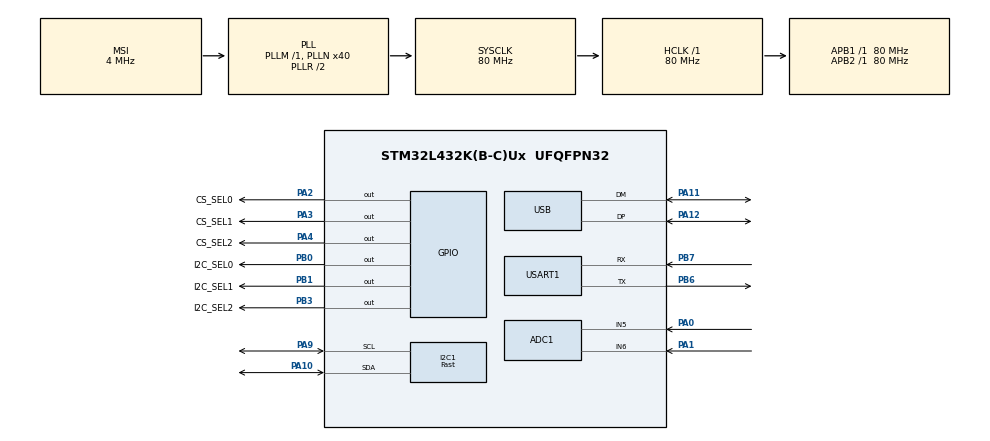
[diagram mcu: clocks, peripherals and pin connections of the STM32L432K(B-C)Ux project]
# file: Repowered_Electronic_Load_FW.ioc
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Mcu.Family=STM32L4
USB_DEVICE.CLASS_NAME_FS=CDC
RCC.CortexFreq_Value=80000000
NVIC.I2C1_EV_IRQn=true\:0\:0\:false\:false\:true\:true\:true
I2C1.I2C_Speed_Mode=I2C_Fast
NVIC.USB_IRQn=true\:0\:0\:false\:false\:true\:false\:true
ADC1.ContinuousConvMode=DISABLE
PA2.GPIO_Speed=GPIO_SPEED_FREQ_HIGH
PA11.Mode=Device
PB0.GPIO_Label=I2C_SEL0
PA3.GPIO_Speed=GPIO_SPEED_FREQ_HIGH
RCC.SYSCLKSource=RCC_SYSCLKSOURCE_PLLCLK
ProjectManager.StackSize=0x400
PB3\ (JTDO-TRACESWO).Signal=GPIO_Output
VP_TIM1_VS_no_output1.Mode=Output Compare1 No Output
PA14\ (JTCK-SWCLK).Signal=SYS_JTCK-SWCLK
PA12.Signal=USB_DP
NVIC.ADC1_IRQn=true\:0\:0\:false\:false\:true\:true\:true
RCC.HCLKFreq_Value=80000000
RCC.APB2TimFreq_Value=80000000
PB6.Signal=USART1_TX
Dma.ADC1.0.Direction=DMA_PERIPH_TO_MEMORY
USB_DEVICE.USBD_LPM_ENABLED=0
PB6.Mode=Asynchronous
TIM1.OC1Preload=ENABLE
Dma.ADC1.0.MemDataAlignment=DMA_MDATAALIGN_HALFWORD
RCC.AHBFreq_Value=80000000
ADC1.Channel-0\#ChannelRegularConversion=ADC_CHANNEL_5
RCC.HSE_VALUE=8000000
PA4.GPIO_Speed=GPIO_SPEED_FREQ_HIGH
PB1.GPIO_Speed=GPIO_SPEED_FREQ_VERY_HIGH
Dma.ADC1.0.PeriphInc=DMA_PINC_DISABLE
PB1.GPIO_Label=I2C_SEL1
PB7.Signal=USART1_RX
NVIC.I2C1_ER_IRQn=true\:0\:0\:false\:false\:true\:true\:true
VP_TIM1_VS_ClockSourceINT.Mode=Internal
ADC1.SamplingTime-0\#ChannelRegularConversion=ADC_SAMPLETIME_2CYCLES_5
PA0.Signal=ADCx_IN5
Mcu.Package=UFQFPN32
PB1.Signal=GPIO_Output
TIM1.Pulse-Output\ Compare1\ No\ Output=4000
PA2.GPIO_Label=CS_SEL0
PA10.Signal=I2C1_SDA
ADC1.OffsetNumber-1\#ChannelRegularConversion=ADC_OFFSET_NONE
RCC.APB1TimFreq_Value=80000000
TIM1.Period=8000
PA13\ (JTMS-SWDIO).Signal=SYS_JTMS-SWDIO
NVIC.USART1_IRQn=true\:0\:0\:false\:false\:true\:true\:true
Dma.Request0=ADC1
PA4.GPIO_Label=CS_SEL2
ADC1.EOCSelection=ADC_EOC_SEQ_CONV
RCC.HSI48_VALUE=48000000
RCC.PLLSAI1N=24
PA3.Signal=GPIO_Output
RCC.MSI_VALUE=4000000
PA14\ (JTCK-SWCLK).Mode=Serial_Wire
Dma.ADC1.0.Instance=DMA1_Channel1
ADC1.Rank-0\#ChannelRegularConversion=1
PA10.Mode=I2C
USB_DEVICE.VirtualModeFS=Cdc_FS
SH.ADCx_IN6.0=ADC1_IN6,IN6-Single-Ended
ADC1.OffsetNumber-0\#ChannelRegularConversion=ADC_OFFSET_NONE
TIM1.Channel-Output\ Compare1\ No\ Output=TIM_CHANNEL_1
ADC1.DiscontinuousConvMode=DISABLE
PB3\ (JTDO-TRACESWO).GPIO_Label=I2C_SEL2
ADC1.ExternalTrigConvEdge=ADC_EXTERNALTRIGCONVEDGE_NONE
PB0.GPIO_Speed=GPIO_SPEED_FREQ_VERY_HIGH
USART1.VirtualMode-Asynchronous=VM_ASYNC
TIM1.AutoReloadPreload=TIM_AUTORELOAD_PRELOAD_ENABLE
Dma.ADC1.0.PeriphDataAlignment=DMA_PDATAALIGN_HALFWORD
PA9.Mode=I2C
ProjectManager.TargetToolchain=Makefile
Dma.ADC1.0.Mode=DMA_NORMAL
VP_USB_DEVICE_VS_USB_DEVICE_CDC_FS.Mode=CDC_FS
Dma.ADC1.0.Priority=DMA_PRIORITY_LOW
PA9.Signal=I2C1_SCL
ADC1.Channel-1\#ChannelRegularConversion=ADC_CHANNEL_6
I2C1.Timing=0x00702991
RCC.USBFreq_Value=48000000
RCC.LSE_VALUE=32768
PA1.Signal=ADCx_IN6
NVIC.TIM1_TRG_COM_IRQn=true\:0\:0\:false\:false\:true\:true\:true
board=custom
RCC.VCOOutputFreq_Value=160000000
TIM1.TIM_MasterOutputTrigger=TIM_TRGO_OC1REF
RCC.APB2Freq_Value=80000000
RCC.ADCFreq_Value=48000000
ADC1.NbrOfConversion=2
Mcu.Name=STM32L432K(B-C)Ux
PA2.Signal=GPIO_Output
ADC1.ExternalTrigConv=ADC_SOFTWARE_START
NVIC.TIM1_CC_IRQn=true\:0\:0\:false\:false\:true\:true\:true
PA13\ (JTMS-SWDIO).Mode=Serial_Wire
PA4.Signal=GPIO_Output
ADC1.SamplingTime-1\#ChannelRegularConversion=ADC_SAMPLETIME_2CYCLES_5
RCC.SYSCLKFreq_VALUE=80000000
ADC1.master=1
PA12.Mode=Device
ADC1.Rank-1\#ChannelRegularConversion=2
PB7.Mode=Asynchronous
PA11.Signal=USB_DM
Dma.ADC1.0.MemInc=DMA_MINC_ENABLE
ProjectManager.HeapSize=0x200
RCC.HSI_VALUE=16000000
SH.ADCx_IN5.0=ADC1_IN5,IN5-Single-Ended
NVIC.PriorityGroup=NVIC_PRIORITYGROUP_4
ADC1.NbrOfConversionFlag=1
RCC.PLLN=40
PB3\ (JTDO-TRACESWO).GPIO_Speed=GPIO_SPEED_FREQ_VERY_HIGH
NVIC.DMA1_Channel1_IRQn=true\:0\:0\:false\:false\:true\:false\:true
RCC.APB1Freq_Value=80000000
PB0.Signal=GPIO_Output
USB_DEVICE.VirtualMode=Cdc
TIM1.TIM_MasterSlaveMode=TIM_MASTERSLAVEMODE_DISABLE
PA3.GPIO_Label=CS_SEL1

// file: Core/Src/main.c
/* USER CODE BEGIN Header */
/**
  ******************************************************************************
  * @file           : main.c
  * @brief          : Main program body
  ******************************************************************************
  * @attention
  *
  * <h2><center>&copy; Copyright (c) 2021 STMicroelectronics.
  * All rights reserved.</center></h2>
  *
  * This software component is licensed by ST under Ultimate Liberty license
  * SLA0044, the "License"; You may not use this file except in compliance with
  * the License. You may obtain a copy of the License at:
  *                             www.st.com/SLA0044
  *
  ******************************************************************************
  */
/* USER CODE END Header */
#include "main.h"
#include "adc.h"
#include "dma.h"
#include "i2c.h"
#include "tim.h"
#include "usart.h"
#include "usb_device.h"
#include "gpio.h"

/* USER CODE BEGIN Includes */
#include <stdbool.h>
#include "usbd_cdc_if.h"
#include "scpiparser.h"
#include "printf.h"
#include "dac101.h"
/* USER CODE END Includes */

/* USER CODE BEGIN PTD */

typedef enum modes {
  OFF,
  CURRENT_INIT,
  CURRENT,
  RESISTANCE_INIT,
  RESISTANCE,
  POWER_INIT,
  POWER
}Mode_t;

typedef struct load_channel_struct {
  bool active;
  uint8_t ch_num;
  uint16_t dac_value;
  uint32_t isns_ua; // sensed current in microamps
  uint32_t errors;
}LoadChannel_t;

/* USER CODE END PTD */

/* USER CODE BEGIN PD */
#define DAC_CHANNELS          8
#define ADC_SAMPLES           2
#define VIN_SAMPLE_DEPTH      4
#define VIN_FE_GAIN           15.7059
#define ADC_FS                3.3
#define CS_UA_PER_COUNT       4740
#define SCRATCH_BUF_SIZE      512
#define MAX_CURRENT_PER_CHAN  19.4
#define CS_RES                0.005
#define CS_AMP_GAIN           34.0
#define DAC_FS                1023.0
#define DAC_VREF              3.3
#define UART_BUF_SIZE         128

extern uint8_t* UserRxBufferFS;
extern uint8_t* UserTxBufferFS;
/* USER CODE END PD */

/* USER CODE BEGIN PV */
Mode_t mode = OFF;
float iset = 0.0;
float rset = 0.0;
LoadChannel_t load_channels[DAC_CHANNELS];
int channel_ind = 0;
int channel_adc_ind = 0;
float vin = 0.0;
int vin_acc = 0;
int vin_samples = 0;
uint16_t adc_samples[ADC_SAMPLES];
volatile bool adc_ready = false;
float max_current = MAX_CURRENT_PER_CHAN * DAC_CHANNELS;
volatile uint8_t uart_buf[UART_BUF_SIZE] = {};
volatile int uart_ind = 0;
volatile bool process_scpi_cmd;
volatile int i2c_error_count = 0;
uint8_t scratch_buf[SCRATCH_BUF_SIZE];
uint8_t idn_str[] = "1000W Electronic Load, (c) 2021 Adam Cordingley, acordingley.us\r\n\0";
struct scpi_parser_context ctx;
volatile uint8_t i2c_tx_data[2];
/* USER CODE END PV */

void SystemClock_Config(void);
/* USER CODE BEGIN PFP */
void switch_cs_channel(int ch_num);
void update_dac(LoadChannel_t* load);
void update_dac_setpoints(uint16_t counts);
void pause_uart_interrupts();
void resume_uart_interrupts();
void pause_i2c_interrupts();
void resume_i2c_interrupts();
scpi_error_t identify(struct scpi_parser_context* context, struct scpi_token* command);
scpi_error_t get_voltage(struct scpi_parser_context* context, struct scpi_token* command);
scpi_error_t get_current(struct scpi_parser_context* context, struct scpi_token* command);
scpi_error_t get_power(struct scpi_parser_context* context, struct scpi_token* command);
scpi_error_t get_resistance(struct scpi_parser_context* context, struct scpi_token* command);
scpi_error_t set_current(struct scpi_parser_context* context, struct scpi_token* command);
scpi_error_t set_resistance(struct scpi_parser_context* context, struct scpi_token* command);
scpi_error_t get_error_count(struct scpi_parser_context* context, struct scpi_token* command);
/* USER CODE END PFP */

int main(void)
{

  /* MCU Configuration--------------------------------------------------------*/

  /* Reset of all peripherals, Initializes the Flash interface and the Systick. */
  HAL_Init();

  /* Configure the system clock */
  SystemClock_Config();

  /* Initialize all configured peripherals */
  MX_GPIO_Init();
  MX_DMA_Init();
  MX_I2C1_Init();
  MX_USART1_UART_Init();
  MX_USB_DEVICE_Init();
  MX_ADC1_Init();
  MX_TIM1_Init();
  /* USER CODE BEGIN 2 */

  HAL_UART_Transmit(&huart1, idn_str, strlen(idn_str), 10);

  // init channels
  for(int i = 0; i < DAC_CHANNELS; i++){
    load_channels[i].active = true;
    load_channels[i].ch_num = i;
    load_channels[i].dac_value = 0;
    load_channels[i].isns_ua = 0;
  }
  // start the I2C ball rolling
  update_dac(&(load_channels[channel_ind]));

  // init ADC
  HAL_ADCEx_Calibration_Start(&hadc1, ADC_SINGLE_ENDED);
  HAL_ADC_Start_DMA(&hadc1, (uint32_t*)adc_samples, 2); // ADC to memory performed through DMA

  // start timer that triggers the ADC conversions
  HAL_TIM_Base_Start_IT(&htim1);
  HAL_TIM_OC_Start_IT(&htim1, TIM_CHANNEL_1);

  // ==== SCPI stuff ====
  struct scpi_command* source;
  struct scpi_command* measure;
  struct scpi_command* system;
  scpi_init(&ctx);

  /*
   * After initialising the parser, we set up the command tree.  Ours is
   *
   *  *IDN?         -> identify
   *  :MEASure
   *    :VOLTage?   -> get_voltage
   *    :CURRent?   -> get_current
   *    :POWer?     -> get_power
   *    :RESistance?-> get_resistance
   *  :SOURce
   *    :CURRent    -> set_current
   *    :RESistance -> set_resistance
   */
  scpi_register_command(ctx.command_tree, SCPI_CL_SAMELEVEL, "*IDN?", 5, "*IDN?", 5, identify);

  source = scpi_register_command(ctx.command_tree, SCPI_CL_CHILD, "SOURCE", 6, "SOUR", 4, NULL);
  measure = scpi_register_command(ctx.command_tree, SCPI_CL_CHILD, "MEASURE", 7, "MEAS", 4, NULL);
  system = scpi_register_command(ctx.command_tree, SCPI_CL_CHILD, "SYSTEM", 6, "SYS", 3, NULL);

  scpi_register_command(measure, SCPI_CL_CHILD, "VOLTAGE?", 8, "VOLT?", 5, get_voltage);
  scpi_register_command(measure, SCPI_CL_CHILD, "CURRENT?", 8, "CURR?", 5, get_current);
  scpi_register_command(measure, SCPI_CL_CHILD, "POWER?", 6, "POW?", 4, get_power);
  scpi_register_command(measure, SCPI_CL_CHILD, "RESISTANCE?", 11, "RES?", 4, get_resistance);

  scpi_register_command(source, SCPI_CL_CHILD, "CURRENT", 7, "CURR", 4, set_current);
  scpi_register_command(source, SCPI_CL_CHILD, "RESISTANCE", 10, "RES", 3, set_resistance);

  scpi_register_command(system, SCPI_CL_CHILD, "ERRORS?", 7, "ERR?", 4, get_error_count);

  // ==== END SCPI STUFF ====

  HAL_UART_Receive_IT(&huart1, uart_buf, 1);
  /* USER CODE END 2 */

  /* Infinite loop */
  while (1)
  {

    /* USER CODE BEGIN 3 */

    // ==== CHECK FOR UART DATA ====
    // HAL_StatusTypeDef stat = HAL_UART_Receive(&huart1, uart_buf, 1, 10);
    if(uart_ind > 0 && (uart_buf[uart_ind - 1] == '\n' || uart_buf[uart_ind - 1] == '\r')){
      HAL_UART_AbortReceive(&huart1);
      uart_buf[uart_ind - 1] = '\0';
      uart_ind = 0;
      pause_i2c_interrupts();
      scpi_execute_command(&ctx, uart_buf, strlen(uart_buf));
      resume_i2c_interrupts();
      HAL_UART_Receive_IT(&huart1, uart_buf, 1);
    }

    // ==== CHECK ADC STATUS ====
    if(adc_ready){
      adc_ready = false;
      HAL_ADC_Start_DMA(&hadc1,  (uint32_t*)adc_samples, 2);
    }

    // // ==== CHECK FOR USB DATA ====
    // if(UserRxBufferFS[0] == ':' || UserRxBufferFS[0] == '*'){
    //   int len = strlen(UserRxBufferFS);
    //   if(len <= APP_RX_DATA_SIZE){
    //     snprintf(scratch_buf, SCRATCH_BUF_SIZE, "Executing SCPI command: %s\r\n", UserRxBufferFS);
    //     HAL_UART_Transmit(&huart1, scratch_buf, strlen(scratch_buf), 10);
    //     scpi_execute_command(&ctx, UserRxBufferFS, len);
    //     UserRxBufferFS[0] = '\0';
    //   }

    // }

    // ==== STATE MACHINE ====
    switch(mode){
      case CURRENT_INIT:{
        float ichan = iset / DAC_CHANNELS;
        uint16_t counts = (uint16_t)((DAC_FS * ichan * CS_RES * CS_AMP_GAIN)/DAC_VREF);
        update_dac_setpoints(counts);
        mode = CURRENT;
        break;
      }case RESISTANCE_INIT:{
        float itarget = vin / rset;
        float ichan = itarget / DAC_CHANNELS;
        uint16_t counts = (uint16_t)((DAC_FS * ichan * CS_RES * CS_AMP_GAIN)/DAC_VREF);
        update_dac_setpoints(counts);
        mode = RESISTANCE;
        break;
      }case POWER_INIT:{
        mode = POWER;
        break;
      }case CURRENT:{
        float ichan = iset / DAC_CHANNELS;
        uint16_t counts = (uint16_t)((DAC_FS * ichan * CS_RES * CS_AMP_GAIN)/DAC_VREF);
        update_dac_setpoints(counts);
        break;
      }case RESISTANCE:{
        float itarget = vin / rset;
        float ichan = itarget / DAC_CHANNELS;
        uint16_t counts = (uint16_t)((DAC_FS * ichan * CS_RES * CS_AMP_GAIN)/DAC_VREF);
        update_dac_setpoints(counts);
        break;
      }case POWER:{

        break;
      }
      case OFF:
      default:
      {
        update_dac_setpoints(0);
        break;
      }
    }

    // DEBUGGING
    struct scpi_error* err;
    do{
      err = scpi_pop_error(&ctx);
      if(err->id != 0){
        snprintf(scratch_buf, SCRATCH_BUF_SIZE, "%s\r\n", err->description);
        HAL_UART_Transmit(&huart1, scratch_buf, strlen(scratch_buf), 10);
      }
      free(err);
    }while(err->id != 0);

    // snprintf(uart_buf, UART_BUF_SIZE, "ISET: %.3f\r\n", iset);
    // HAL_UART_Transmit(&huart1, uart_buf, strlen(uart_buf), 10);

    HAL_Delay(25);

  }
  /* USER CODE END 3 */
}

void SystemClock_Config(void)
{
  RCC_OscInitTypeDef RCC_OscInitStruct = {0};
  RCC_ClkInitTypeDef RCC_ClkInitStruct = {0};
  RCC_PeriphCLKInitTypeDef PeriphClkInit = {0};

  /** Initializes the RCC Oscillators according to the specified parameters
  * in the RCC_OscInitTypeDef structure.
  */
  RCC_OscInitStruct.OscillatorType = RCC_OSCILLATORTYPE_MSI;
  RCC_OscInitStruct.MSIState = RCC_MSI_ON;
  RCC_OscInitStruct.MSICalibrationValue = 0;
  RCC_OscInitStruct.MSIClockRange = RCC_MSIRANGE_6;
  RCC_OscInitStruct.PLL.PLLState = RCC_PLL_ON;
  RCC_OscInitStruct.PLL.PLLSource = RCC_PLLSOURCE_MSI;
  RCC_OscInitStruct.PLL.PLLM = 1;
  RCC_OscInitStruct.PLL.PLLN = 40;
  RCC_OscInitStruct.PLL.PLLP = RCC_PLLP_DIV7;
  RCC_OscInitStruct.PLL.PLLQ = RCC_PLLQ_DIV2;
  RCC_OscInitStruct.PLL.PLLR = RCC_PLLR_DIV2;
  if (HAL_RCC_OscConfig(&RCC_OscInitStruct) != HAL_OK)
  {
    Error_Handler();
  }
  /** Initializes the CPU, AHB and APB buses clocks
  */
  RCC_ClkInitStruct.ClockType = RCC_CLOCKTYPE_HCLK|RCC_CLOCKTYPE_SYSCLK
                              |RCC_CLOCKTYPE_PCLK1|RCC_CLOCKTYPE_PCLK2;
  RCC_ClkInitStruct.SYSCLKSource = RCC_SYSCLKSOURCE_PLLCLK;
  RCC_ClkInitStruct.AHBCLKDivider = RCC_SYSCLK_DIV1;
  RCC_ClkInitStruct.APB1CLKDivider = RCC_HCLK_DIV1;
  RCC_ClkInitStruct.APB2CLKDivider = RCC_HCLK_DIV1;

  if (HAL_RCC_ClockConfig(&RCC_ClkInitStruct, FLASH_LATENCY_4) != HAL_OK)
  {
    Error_Handler();
  }
  PeriphClkInit.PeriphClockSelection = RCC_PERIPHCLK_USART1|RCC_PERIPHCLK_I2C1
                              |RCC_PERIPHCLK_USB|RCC_PERIPHCLK_ADC;
  PeriphClkInit.Usart1ClockSelection = RCC_USART1CLKSOURCE_PCLK2;
  PeriphClkInit.I2c1ClockSelection = RCC_I2C1CLKSOURCE_PCLK1;
  PeriphClkInit.AdcClockSelection = RCC_ADCCLKSOURCE_PLLSAI1;
  PeriphClkInit.UsbClockSelection = RCC_USBCLKSOURCE_PLLSAI1;
  PeriphClkInit.PLLSAI1.PLLSAI1Source = RCC_PLLSOURCE_MSI;
  PeriphClkInit.PLLSAI1.PLLSAI1M = 1;
  PeriphClkInit.PLLSAI1.PLLSAI1N = 24;
  PeriphClkInit.PLLSAI1.PLLSAI1P = RCC_PLLP_DIV7;
  PeriphClkInit.PLLSAI1.PLLSAI1Q = RCC_PLLQ_DIV2;
  PeriphClkInit.PLLSAI1.PLLSAI1R = RCC_PLLR_DIV2;
  PeriphClkInit.PLLSAI1.PLLSAI1ClockOut = RCC_PLLSAI1_48M2CLK|RCC_PLLSAI1_ADC1CLK;
  if (HAL_RCCEx_PeriphCLKConfig(&PeriphClkInit) != HAL_OK)
  {
    Error_Handler();
  }
  /** Configure the main internal regulator output voltage
  */
  if (HAL_PWREx_ControlVoltageScaling(PWR_REGULATOR_VOLTAGE_SCALE1) != HAL_OK)
  {
    Error_Handler();
  }
}

/* USER CODE BEGIN 4 */

void HAL_UART_RxCpltCallback(UART_HandleTypeDef* huart){
  uart_ind ++;
  HAL_UART_Receive_IT(&huart1, uart_buf + uart_ind, 1);
}

void HAL_I2C_MasterTxCpltCallback(I2C_HandleTypeDef *hi2c){

  // find the next channel to update
  channel_ind++;
  if(channel_ind >= DAC_CHANNELS){
    channel_ind = 0;
  }

  update_dac(&(load_channels[channel_ind]));
}

void HAL_I2C_ErrorCallback(I2C_HandleTypeDef *hi2c){
  HAL_I2C_Master_Abort_IT(&hi2c1, DAC101_ADDR_BROADCAST << 1);
  // i2c_error_count ++;
  load_channels[channel_ind].errors++;

  // find the next channel to update
  channel_ind++;
  if(channel_ind >= DAC_CHANNELS){
    channel_ind = 0;
  }

  update_dac(&(load_channels[channel_ind]));
}

void HAL_ADC_ConvCpltCallback(ADC_HandleTypeDef *hadc){
  vin_acc += adc_samples[1];
  vin_samples++;
  if(vin_samples >= VIN_SAMPLE_DEPTH){
    // compute VIN
    vin = (VIN_FE_GAIN * ADC_FS * vin_acc) / (vin_samples * 4095.0);

    // reset these things
    vin_acc = 0;
    vin_samples = 0;
  }
  load_channels[channel_adc_ind].isns_ua = adc_samples[0] * CS_UA_PER_COUNT;
  /*
  switch(mode){
    case CURRENT:{
      float ichan = iset / DAC_CHANNELS;
      uint16_t counts = (uint16_t)((DAC_FS * ichan * CS_RES * CS_AMP_GAIN)/DAC_VREF);
      update_dac_setpoints(counts);
      break;
    }case RESISTANCE:{
      float itarget = vin / rset;
      float ichan = itarget / DAC_CHANNELS;
      uint16_t counts = (uint16_t)((DAC_FS * ichan * CS_RES * CS_AMP_GAIN)/DAC_VREF);
      update_dac_setpoints(counts);
      break;
    }case POWER:{

      break;
    }
    case POWER_INIT:{
      break;
    }
    case RESISTANCE_INIT:{
      mode = RESISTANCE;
      break;
    }
    case CURRENT_INIT:{
      mode = CURRENT;
      break;
    }
    case OFF:
    default:
    {
      break;
    }
  }
  */
  channel_adc_ind++;
  if(channel_adc_ind >= DAC_CHANNELS){
    channel_adc_ind = 0;
  }
  switch_cs_channel(load_channels[channel_adc_ind].ch_num);
  adc_ready = true;
}

void switch_cs_channel(int ch_num){
  if((ch_num >> 2) & 1)
    CS_SEL2_GPIO_Port->ODR |= CS_SEL2_Pin;
  else
    CS_SEL2_GPIO_Port->ODR &= ~CS_SEL2_Pin;

  if((ch_num >> 1) & 1)
    CS_SEL1_GPIO_Port->ODR |= CS_SEL1_Pin;
  else
    CS_SEL1_GPIO_Port->ODR &= ~CS_SEL1_Pin;

  if(ch_num & 1)
    CS_SEL0_GPIO_Port->ODR |= CS_SEL0_Pin;
  else
    CS_SEL0_GPIO_Port->ODR &= ~CS_SEL0_Pin;
}

void update_dac(LoadChannel_t* load){
  // switch the I2C mux
  if((load->ch_num >> 2) & 1)
    I2C_SEL0_GPIO_Port->ODR |= I2C_SEL2_Pin;
  else
    I2C_SEL0_GPIO_Port->ODR &= ~I2C_SEL2_Pin;

  if((load->ch_num >> 1) & 1)
    I2C_SEL0_GPIO_Port->ODR |= I2C_SEL1_Pin;
  else
    I2C_SEL0_GPIO_Port->ODR &= ~I2C_SEL1_Pin;

  if(load->ch_num & 1)
    I2C_SEL0_GPIO_Port->ODR |= I2C_SEL0_Pin;
  else
    I2C_SEL0_GPIO_Port->ODR &= ~I2C_SEL0_Pin;

  i2c_tx_data[0] = (load->dac_value >> 6) & 0x0F;
  i2c_tx_data[1] = (load->dac_value << 2) & 0xFC;
  HAL_I2C_Master_Transmit_IT(&hi2c1, DAC101_ADDR_BROADCAST << 1, i2c_tx_data, 2);
}

void update_dac_setpoints(uint16_t counts){
  int start = channel_ind; // remember where we started the update process
  int i = start;
  do{
    load_channels[i].dac_value = counts;
    i++;
    if(i >= DAC_CHANNELS){
      i = 0;
    }
  }while(i != start);
}

float get_total_current(){
  float itotal = 0.0;
  for(int i = 0; i < DAC_CHANNELS; i++){
    if(load_channels[i].active){
      itotal += load_channels[i].isns_ua / 1.0e6f;
    }
  }
  return itotal;
}

void pause_uart_interrupts(){

}

void resume_uart_interrupts(){

}

void pause_i2c_interrupts(){
  HAL_NVIC_DisableIRQ(I2C1_EV_IRQn);
  HAL_NVIC_DisableIRQ(I2C1_ER_IRQn);

}

void resume_i2c_interrupts(){
  HAL_NVIC_EnableIRQ(I2C1_EV_IRQn);
  HAL_NVIC_EnableIRQ(I2C1_ER_IRQn);
}

/*
 * Respond to *IDN?
 */
scpi_error_t identify(struct scpi_parser_context* context, struct scpi_token* command){
  scpi_free_tokens(command);
  snprintf(uart_buf, UART_BUF_SIZE, "%s\r\n", idn_str);
  HAL_UART_Transmit(&huart1, uart_buf, strlen(uart_buf), 10);
  // CDC_Transmit_FS(UserTxBufferFS, strlen(UserTxBufferFS));
  return SCPI_SUCCESS;
}

/**
 * Report the voltage on the input
 */
scpi_error_t get_voltage(struct scpi_parser_context* context, struct scpi_token* command){
  snprintf(uart_buf, UART_BUF_SIZE, "%.6g\r\n", vin);
  HAL_UART_Transmit(&huart1, uart_buf, strlen(uart_buf), 10);
  // CDC_Transmit_FS(UserTxBufferFS, strlen(UserTxBufferFS));
  scpi_free_tokens(command);
  return SCPI_SUCCESS;
}
scpi_error_t get_current(struct scpi_parser_context* context, struct scpi_token* command){
  float itotal = get_total_current();
  snprintf(uart_buf, UART_BUF_SIZE, "%.6g\r\n", itotal);
  HAL_UART_Transmit(&huart1, uart_buf, strlen(uart_buf), 10);
  // CDC_Transmit_FS(UserTxBufferFS, strlen(UserTxBufferFS));
  scpi_free_tokens(command);
  return SCPI_SUCCESS;

}
scpi_error_t get_power(struct scpi_parser_context* context, struct scpi_token* command){
  float itotal = get_total_current();
  float power = itotal * vin;
  snprintf(uart_buf, UART_BUF_SIZE, "%.6g\r\n", power);
  HAL_UART_Transmit(&huart1, uart_buf, strlen(uart_buf), 10);
  // CDC_Transmit_FS(UserTxBufferFS, strlen(UserTxBufferFS));
  scpi_free_tokens(command);
  return SCPI_SUCCESS;

}
scpi_error_t get_resistance(struct scpi_parser_context* context, struct scpi_token* command){
  float itotal = get_total_current();
  float resistance = vin / itotal;
  snprintf(uart_buf, UART_BUF_SIZE, "%.6g\r\n", resistance);
  HAL_UART_Transmit(&huart1, uart_buf, strlen(uart_buf), 10);
  // CDC_Transmit_FS(UserTxBufferFS, strlen(UserTxBufferFS));
  scpi_free_tokens(command);
  return SCPI_SUCCESS;
}

scpi_error_t get_error_count(struct scpi_parser_context* context, struct scpi_token* command){
  snprintf(uart_buf, UART_BUF_SIZE, "--- I2C-ERRORS ---\r\n", i2c_error_count);
  HAL_UART_Transmit(&huart1, uart_buf, strlen(uart_buf), 10);
  for(int i = 0; i < DAC_CHANNELS; i++){
    snprintf(uart_buf, UART_BUF_SIZE, "\tCH%d: %d\r\n", i+1, load_channels[i].errors);
    HAL_UART_Transmit(&huart1, uart_buf, strlen(uart_buf), 10);
  }

  // CDC_Transmit_FS(UserTxBufferFS, strlen(UserTxBufferFS));
  scpi_free_tokens(command);
  return SCPI_SUCCESS;
}
/*
scpi_error_t set_voltage(struct scpi_parser_context* context, struct scpi_token* command){
  struct scpi_token* args;
  struct scpi_numeric output_numeric;
  unsigned char output_value;

  args = command;

  while(args != NULL && args->type == 0)
  {
    args = args->next;
  }

  output_numeric = scpi_parse_numeric(args->value, args->length, 0, 0, MAX_VOLTAGE);
  if(output_numeric.length == 0 || (output_numeric.length == 1 && output_numeric.unit[0] == 'V') ){
    vset = output_numeric.value;
    mode = VOLTAGE_INIT;
  }else{
    struct scpi_error error;
    error.id = -200;
    error.description = "Command error;Invalid unit";
    error.length = 26;
    snprintf(scratch_buf, SCRATCH_BUF_SIZE, "%d", output_numeric.length);
    HAL_UART_Transmit(&huart1, scratch_buf, strlen(scratch_buf), 10);

    scpi_queue_error(&ctx, error);
    scpi_free_tokens(command);
    return SCPI_SUCCESS;
  }
}
*/

scpi_error_t set_current(struct scpi_parser_context* context, struct scpi_token* command){
  struct scpi_token* args;
  struct scpi_numeric output_numeric;
  unsigned char output_value;

  args = command;

  while(args != NULL && args->type == 0)
  {
    args = args->next;
  }

  output_numeric = scpi_parse_numeric(args->value, args->length, 0, 0, max_current);
  if(output_numeric.length == 0 || (output_numeric.length == 1 && output_numeric.unit[0] == 'A') ){
    iset = output_numeric.value;
    mode = CURRENT_INIT;
    return SCPI_SUCCESS;
  }else{
    struct scpi_error error;
    error.id = -200;
    error.description = "Command error;Invalid unit";
    error.length = 26;
    snprintf(UserTxBufferFS, APP_TX_DATA_SIZE, "%d", output_numeric.length);
    CDC_Transmit_FS(UserTxBufferFS, strlen(UserTxBufferFS));

    scpi_queue_error(&ctx, error);
    scpi_free_tokens(command);
    return SCPI_SUCCESS;
  }
}
scpi_error_t set_resistance(struct scpi_parser_context* context, struct scpi_token* command){
  struct scpi_token* args;
  struct scpi_numeric output_numeric;
  unsigned char output_value;

  args = command;

  while(args != NULL && args->type == 0)
  {
    args = args->next;
  }

  float min_r = 5.0 / max_current;
  output_numeric = scpi_parse_numeric(args->value, args->length, 0, min_r, __FLT32_MAX__);
  if(output_numeric.length == 0 || (output_numeric.length == 1 && output_numeric.unit[0] == 'O') ){
    rset = output_numeric.value;
    mode = RESISTANCE_INIT;
    return SCPI_SUCCESS;
  }else{
    struct scpi_error error;
    error.id = -200;
    error.description = "Command error;Invalid unit";
    error.length = 26;
    snprintf(UserTxBufferFS, APP_TX_DATA_SIZE, "%d", output_numeric.length);
    CDC_Transmit_FS(UserTxBufferFS, strlen(UserTxBufferFS));

    scpi_queue_error(&ctx, error);
    scpi_free_tokens(command);
    return SCPI_SUCCESS;
  }
}

/*
scpi_error_t set_power(struct scpi_parser_context* context, struct scpi_token* command){
  struct scpi_token* args;
  struct scpi_numeric output_numeric;
  unsigned char output_value;

  args = command;

  while(args != NULL && args->type == 0)
  {
    args = args->next;
  }

  output_numeric = scpi_parse_numeric(args->value, args->length, 0, 0, max_current);
  if(output_numeric.length == 0 || (output_numeric.length == 1 && output_numeric.unit[0] == 'W') ){
    pset = output_numeric.value;
    mode = POWER_INIT;
  }else{
    struct scpi_error error;
    error.id = -200;
    error.description = "Command error;Invalid unit";
    error.length = 26;
    snprintf(scratch_buf, SCRATCH_BUF_SIZE, "%d", output_numeric.length);
    HAL_UART_Transmit(&huart1, scratch_buf, strlen(scratch_buf), 10);

    scpi_queue_error(&ctx, error);
    scpi_free_tokens(command);
    return SCPI_SUCCESS;
  }
}
*/

/* USER CODE END 4 */

void Error_Handler(void)
{
  /* USER CODE BEGIN Error_Handler_Debug */
  /* User can add his own implementation to report the HAL error return state */
  __disable_irq();
  while (1)
  {
    HAL_UART_Transmit(&huart1, "ERROR\r\n", 7, 10);
  }
  /* USER CODE END Error_Handler_Debug */
}

/************************ (C) COPYRIGHT STMicroelectronics *****END OF FILE****/
